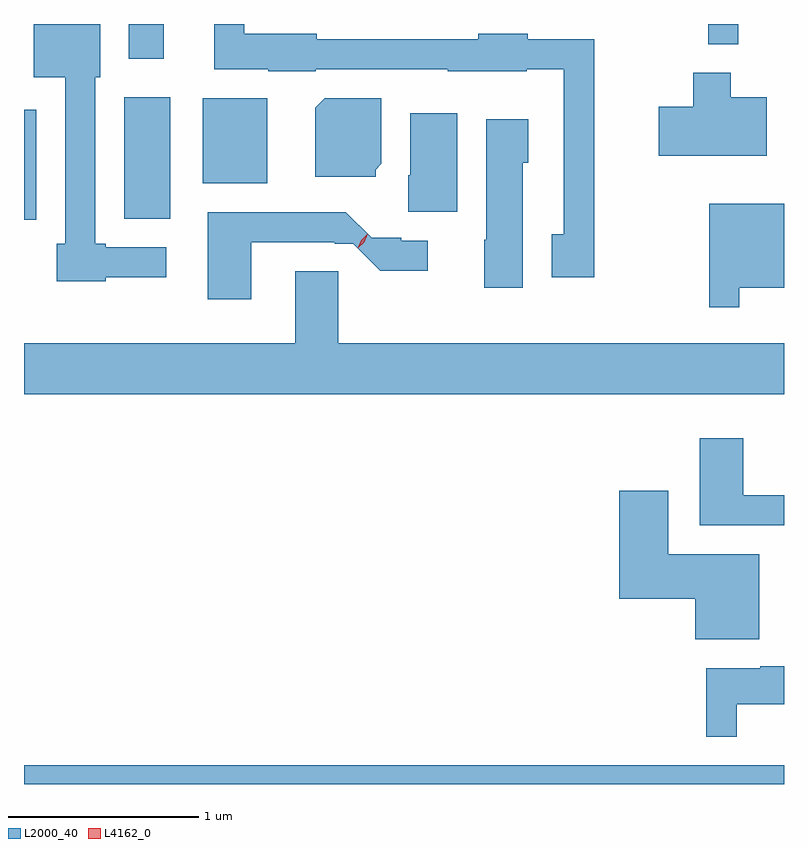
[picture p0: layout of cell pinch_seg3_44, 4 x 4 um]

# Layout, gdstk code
import gdstk
lib = gdstk.Library(unit=1e-6, precision=1e-09)
def R(c, l, rs):  # rectangles x0, y0, x1, y1
    for r in rs: c.add(gdstk.rectangle(r[:2], r[2:], *l))
def P(c, l, *ps):  # polygons
    for p in ps: c.add(gdstk.Polygon(p, *l))
L2000_40 = (2000, 40)
L4162_0 = (4162, 0)

pinch_seg3_44 = lib.new_cell('pinch_seg3_44')
R(pinch_seg3_44, L2000_40, [(1108.274,1126.185,1112.274,1126.284), (1108.274,1129.156,1108.339,1129.734), (1108.801,1129.161,1109.044,1129.799), (1109.216,1129.346,1109.554,1129.794), (1108.826,1130.001,1109.009,1130.185), (1111.876,1130.078,1112.034,1130.185)])
P(pinch_seg3_44, L2000_40, [(1111.274,1130.104),(1110.924,1130.104),(1110.924,1130.134),(1110.666,1130.134),(1110.666,1130.104),(1109.814,1130.104),(1109.814,1130.134),(1109.434,1130.134),(1109.434,1130.185),(1109.276,1130.185),(1109.276,1129.946),(1109.56,1129.946),(1109.56,1129.936),(1109.81,1129.936),(1109.81,1129.946),(1110.505,1129.946),(1110.505,1129.936),(1110.92,1129.936),(1110.92,1129.946),(1111.116,1129.946),(1111.116,1129.079),(1111.051,1129.079),(1111.051,1128.851),(1111.274,1128.851)],
  [(1108.704,1128.851),(1109.023,1128.851),(1109.023,1129.009),(1108.704,1129.009),(1108.704,1129.029),(1108.649,1129.029),(1108.649,1129.906),(1108.674,1129.906),(1108.674,1130.185),(1108.326,1130.185),(1108.326,1129.906),(1108.491,1129.906),(1108.491,1129.029),(1108.446,1129.029),(1108.446,1128.831),(1108.704,1128.831)],
  [(1112.184,1129.799),(1111.994,1129.799),(1111.994,1129.929),(1111.796,1129.929),(1111.796,1129.749),(1111.616,1129.749),(1111.616,1129.491),(1112.184,1129.491)],
  [(1110.124,1129.419),(1110.154,1129.449),(1110.154,1129.794),(1109.857,1129.794),(1109.806,1129.744),(1109.806,1129.381),(1110.124,1129.381)],
  [(1110.554,1129.714),(1110.306,1129.714),(1110.306,1129.39),(1110.296,1129.39),(1110.296,1129.196),(1110.554,1129.196)],
  [(1110.899,1129.456),(1110.929,1129.456),(1110.929,1129.684),(1110.706,1129.684),(1110.706,1129.05),(1110.696,1129.05),(1110.696,1128.796),(1110.899,1128.796)],
  [(1112.039,1128.796),(1112.274,1128.796),(1112.274,1129.239),(1111.881,1129.239),(1111.881,1128.693),(1112.039,1128.693)],
  [(1109.469,1129.036),(1109.91,1129.036),(1109.91,1129.029),(1110.006,1129.029),(1110.149,1128.886),(1110.398,1128.886),(1110.398,1129.044),(1110.26,1129.044),(1110.26,1129.06),(1110.103,1129.06),(1110.039,1129.125),(1110.038,1129.124),(1109.968,1129.194),(1109.241,1129.194),(1109.241,1128.736),(1109.469,1128.736)],
  [(1112.274,1128.504),(1109.929,1128.504),(1109.929,1128.884),(1109.701,1128.884),(1109.701,1128.504),(1108.274,1128.504),(1108.274,1128.236),(1112.274,1128.236)],
  [(1112.274,1127.704),(1112.059,1127.704),(1112.059,1128.004),(1111.831,1128.004),(1111.831,1127.546),(1112.274,1127.546)],
  [(1112.144,1127.394),(1111.664,1127.394),(1111.664,1127.729),(1111.406,1127.729),(1111.406,1127.161),(1111.806,1127.161),(1111.806,1126.946),(1112.144,1126.946)],
  [(1112.024,1126.606),(1112.274,1126.606),(1112.274,1126.804),(1112.15,1126.804),(1112.15,1126.794),(1111.866,1126.794),(1111.866,1126.433),(1112.024,1126.433)])
P(pinch_seg3_44, L4162_0, [(1110.03,1129.004),(1110.03,1129.005),(1110.048,1129.048),(1110.083,1129.08),(1110.083,1129.08),(1110.083,1129.08),(1110.065,1129.036),(1110.03,1129.004)],
  [(1110.033,1129.009),(1110.033,1129.01),(1110.048,1129.048),(1110.078,1129.076),(1110.079,1129.076),(1110.079,1129.075),(1110.064,1129.037),(1110.034,1129.009)])

lib.write_gds('pinch_seg3_44.gds')
